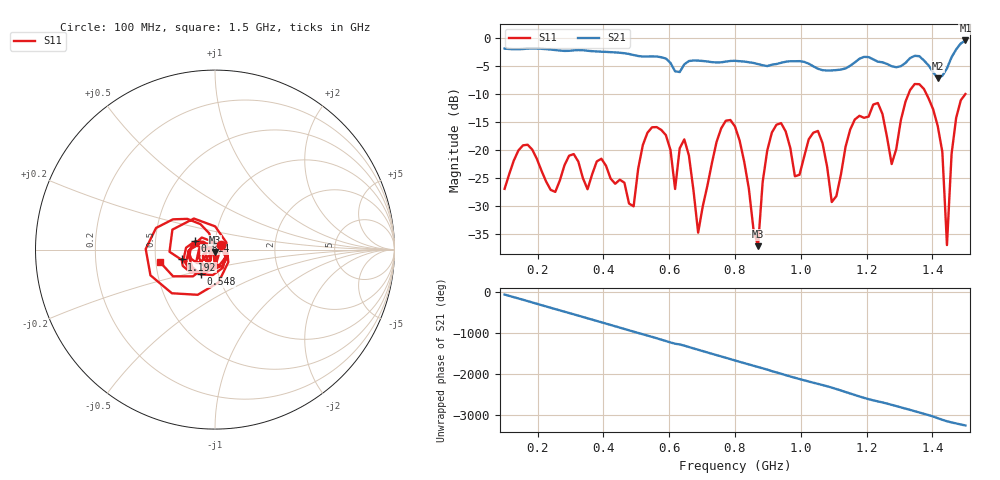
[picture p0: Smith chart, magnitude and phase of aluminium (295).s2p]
! NanoVNA-App
! Date: 2025-09-25 14:57:34
! Start: 100MHz Stop: 1,5GHz Points: 101
! S-Parameter data: F S11 S21 S12 S22
# Hz S RI R 50
!  Frequency  S11_Real  S11_Imag  S21_Real  S21_Imag  S12_Real  S12_Imag  S22_Real  S22_Imag
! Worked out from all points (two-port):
!   101 points, 100 MHz to 1.5 GHz, reference 50 ohm
!   highest |S21| = -0.46 dB at 1.5 GHz (marker M1); lowest = -7.3 dB at 1.416 GHz (marker M2)
!   |S21| within 3 dB of the highest: start of sweep to 575.8 MHz; 1.458 GHz to end of sweep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
!   lowest |S11| = -37.2 dB at 870 MHz (marker M3), VSWR 1.03, Z = 49.9 - j1.38 ohm
!   |S11| at or under -10 dB: start of sweep to 1.327 GHz; 1.381 GHz to end of sweep
!   S12 and S22 are empty: the file has one direction only
!   S11 on the Smith chart (normalised r, x): 100 MHz: 1.07, +0.06; 548 MHz: 0.82, -0.23; 814 MHz: 0.80, +0.07; 1.192 GHz: 0.68, -0.08; 1.5 GHz: 0.53, -0.08
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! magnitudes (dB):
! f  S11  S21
! 100 MHz  -27.0  -1.9
! 338 MHz  -25.1  -2.2
! 492 MHz  -30.1  -3.1
! 548 MHz  -16.0  -3.3
! 576 MHz  -16.4  -3.5
! 618 MHz  -27.0  -6.0
! 646 MHz  -18.1  -4.7
! 688 MHz  -34.8  -4.1
! 800 MHz  -15.8  -4.1
! 814 MHz  -18.3  -4.2
! 870 MHz  -37.2  -4.7
! 912 MHz  -16.9  -4.8
! 982 MHz  -24.7  -4.2
! 1.038 GHz  -16.9  -5.1
! 1.094 GHz  -29.3  -5.8
! 1.192 GHz  -14.3  -3.4
! 1.276 GHz  -22.5  -5.1
! 1.346 GHz  -8.2  -3.2
! 1.416 GHz  -15.7  -7.3
! 1.444 GHz  -37.0  -5.5
! 1.458 GHz  -20.7  -3.5
! 1.5 GHz  -10.0  -0.5
